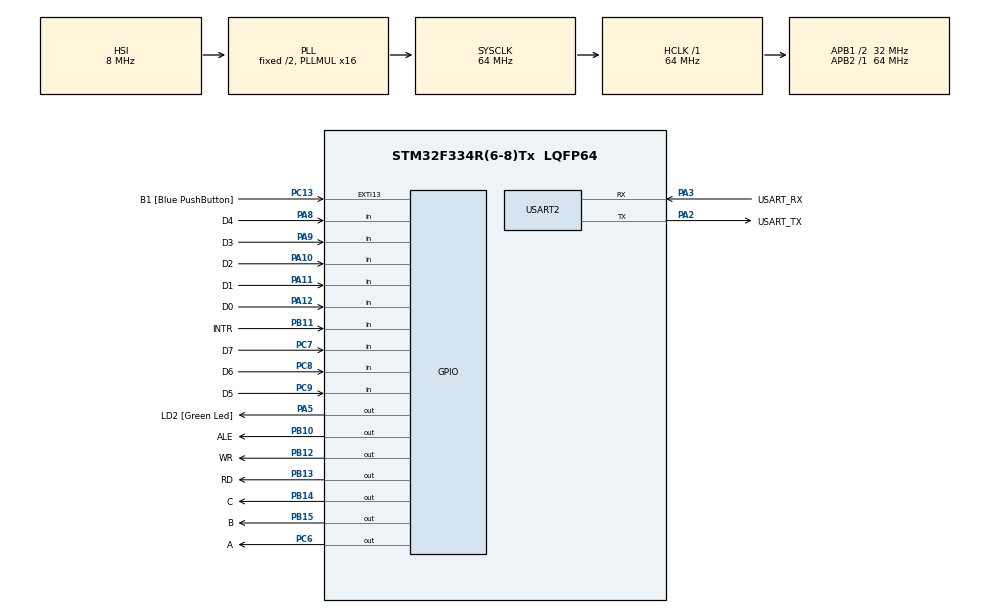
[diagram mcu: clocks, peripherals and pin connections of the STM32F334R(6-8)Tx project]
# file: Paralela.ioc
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Mcu.Family=STM32F3
Mcu.Name=STM32F334R(6-8)Tx
Mcu.Package=LQFP64
NVIC.PriorityGroup=NVIC_PRIORITYGROUP_0
PA10.GPIO_Label=D2
PA10.Signal=GPIO_Input
PA11.GPIO_Label=D1
PA11.Signal=GPIO_Input
PA12.GPIO_Label=D0
PA12.Signal=GPIO_Input
PA13.GPIO_Label=TMS
PA13.Mode=Serial_Wire
PA13.Signal=SYS_JTMS-SWDIO
PA14.GPIO_Label=TCK
PA14.Mode=Serial_Wire
PA14.Signal=SYS_JTCK-SWCLK
PA2.GPIO_Label=USART_TX
PA2.Mode=Asynchronous
PA2.Signal=USART2_TX
PA3.GPIO_Label=USART_RX
PA3.Mode=Asynchronous
PA3.Signal=USART2_RX
PA5.GPIO_Label=LD2 [Green Led]
PA5.Signal=GPIO_Output
PA8.GPIO_Label=D4
PA8.Signal=GPIO_Input
PA9.GPIO_Label=D3
PA9.Signal=GPIO_Input
PB10.GPIO_Label=ALE
PB10.Signal=GPIO_Output
PB11.GPIO_Label=INTR
PB11.Signal=GPIO_Input
PB12.GPIO_Label=WR
PB12.Signal=GPIO_Output
PB13.GPIO_Label=RD
PB13.Signal=GPIO_Output
PB14.GPIO_Label=C
PB14.Signal=GPIO_Output
PB15.GPIO_Label=B
PB15.Signal=GPIO_Output
PB3.GPIO_Label=SWO
PB3.Signal=SYS_JTDO-TRACESWO
PC13.GPIO_Label=B1 [Blue PushButton]
PC13.GPIO_ModeDefaultEXTI=GPIO_MODE_IT_FALLING
PC13.Signal=GPXTI13
PC14\ /\ OSC32_IN.Mode=LSE-External-Oscillator
PC14\ /\ OSC32_IN.Signal=RCC_OSC32_IN
PC15\ /\ OSC32_OUT.GPIO_Label=RCC_OSC32_OUT
PC15\ /\ OSC32_OUT.Mode=LSE-External-Oscillator
PC15\ /\ OSC32_OUT.Signal=RCC_OSC32_OUT
PC6.GPIO_Label=A
PC6.Signal=GPIO_Output
PC7.GPIO_Label=D7
PC7.Signal=GPIO_Input
PC8.GPIO_Label=D6
PC8.Signal=GPIO_Input
PC9.GPIO_Label=D5
PC9.Signal=GPIO_Input
PF0\ /\ OSC_IN.Mode=HSE-External-Clock-Source
PF0\ /\ OSC_IN.Signal=RCC_OSC_IN
PF1\ /\ OSC_OUT.Signal=RCC_OSC_OUT
ProjectManager.HeapSize=0x200
ProjectManager.StackSize=0x400
ProjectManager.TargetToolchain=STM32CubeIDE
RCC.AHBFreq_Value=64000000
RCC.APB1CLKDivider=RCC_HCLK_DIV2
RCC.APB1Freq_Value=32000000
RCC.APB1TimFreq_Value=64000000
RCC.APB2Freq_Value=64000000
RCC.APB2TimFreq_Value=64000000
RCC.CortexFreq_Value=64000000
RCC.FLatency-AdvancedSettings=FLASH_LATENCY_2
RCC.HCLKFreq_Value=64000000
RCC.HSE_VALUE=8000000
RCC.HSI_VALUE=8000000
RCC.PLLMUL=RCC_PLL_MUL16
RCC.SYSCLKFreq_VALUE=64000000
RCC.SYSCLKSourceVirtual=RCC_SYSCLKSOURCE_PLLCLK
USART2.VirtualMode-Asynchronous=VM_ASYNC
board=NUCLEO-F334R8

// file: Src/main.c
/* USER CODE BEGIN Header */
/**
  ******************************************************************************
  * @file           : main.c
  * @brief          : Main program body
  ******************************************************************************
  * @attention
  *
  * <h2><center>&copy; Copyright (c) 2019 STMicroelectronics.
  * All rights reserved.</center></h2>
  *
  * This software component is licensed by ST under BSD 3-Clause license,
  * the "License"; You may not use this file except in compliance with the
  * License. You may obtain a copy of the License at:
  *                        opensource.org/licenses/BSD-3-Clause
  *
  ******************************************************************************
  */
/* USER CODE END Header */

#include "main.h"

UART_HandleTypeDef huart2;

/* USER CODE BEGIN PV */
char bitDado0
char bitDado1
char bitDado2
char bitDado3
char bitDado4
char bitDado5
char bitDado6
char bitDado7

char ValorLido
char ValorEscrito

/* USER CODE END PV */

void SystemClock_Config(void);
static void MX_GPIO_Init(void);
static void MX_USART2_UART_Init(void);

int main(void)
{

  /* MCU Configuration--------------------------------------------------------*/

  /* Reset of all peripherals, Initializes the Flash interface and the Systick. */
  HAL_Init();

  /* Configure the system clock */
  SystemClock_Config();

  /* Initialize all configured peripherals */
  MX_GPIO_Init();
  MX_USART2_UART_Init();

  /* Infinite loop */
  while (1)
  {

    /* USER CODE BEGIN 3 */

	char ValorEscrito = 4;

	HAL_GPIO_WritePin(GPIOA, GPIO_PIN_5, (ValorEscrito & 0x01));
	HAL_GPIO_WritePin(GPIOA, GPIO_PIN_6, ((ValorEscrito & 0x02)>>1));
	HAL_GPIO_WritePin(GPIOA, GPIO_PIN_7, ((ValorEscrito & 0x04)>>2));
	HAL_GPIO_WritePin(GPIOA, GPIO_PIN_8, ((ValorEscrito & 0x08)>>3));
	HAL_GPIO_WritePin(GPIOA, GPIO_PIN_9, ((ValorEscrito & 0x10)>>4));
	HAL_GPIO_WritePin(GPIOA, GPIO_PIN_10, ((ValorEscrito & 0x20)>>5));
	HAL_GPIO_WritePin(GPIOA, GPIO_PIN_11, ((ValorEscrito & 0x40)>>6));
	HAL_GPIO_WritePin(GPIOA, GPIO_PIN_12, ((ValorEscrito & 0x80)>>7));

	char bitDado0 = HAL_GPIO_ReadPin(GPIOA, GPIO_PIN_5);;  // Read state
	char bitDado1 = HAL_GPIO_ReadPin(GPIOA, GPIO_PIN_4);;  // Read state
	char bitDado2 = HAL_GPIO_ReadPin(GPIOA, GPIO_PIN_3);;  // Read state
	char bitDado3 = HAL_GPIO_ReadPin(GPIOA, GPIO_PIN_2);;  // Read state
	char bitDado4 = HAL_GPIO_ReadPin(GPIOA, GPIO_PIN_1);;  // Read state
	char bitDado5 = HAL_GPIO_ReadPin(GPIOA, GPIO_PIN_0);;  // Read state
	char bitDado6 = HAL_GPIO_ReadPin(GPIOA, GPIO_PIN_8);;  // Read state
	char bitDado7 = HAL_GPIO_ReadPin(GPIOA, GPIO_PIN_9);;  // Read state

	char ValorLido = bitDado0|(bitDado1<<1)|(bitDado2<<2)|(bitDado3<<3)|(bitDado4<<4)|(bitDado5<<5)|(bitDado6<<6)|(bitDado7<<7);

	}
  /* USER CODE END 3 */
}

void SystemClock_Config(void)
{
  RCC_OscInitTypeDef RCC_OscInitStruct = {0};
  RCC_ClkInitTypeDef RCC_ClkInitStruct = {0};

  /** Initializes the CPU, AHB and APB busses clocks
  */
  RCC_OscInitStruct.OscillatorType = RCC_OSCILLATORTYPE_HSI;
  RCC_OscInitStruct.HSIState = RCC_HSI_ON;
  RCC_OscInitStruct.HSICalibrationValue = RCC_HSICALIBRATION_DEFAULT;
  RCC_OscInitStruct.PLL.PLLState = RCC_PLL_ON;
  RCC_OscInitStruct.PLL.PLLSource = RCC_PLLSOURCE_HSI;
  RCC_OscInitStruct.PLL.PLLMUL = RCC_PLL_MUL16;
  if (HAL_RCC_OscConfig(&RCC_OscInitStruct) != HAL_OK)
  {
    Error_Handler();
  }
  /** Initializes the CPU, AHB and APB busses clocks
  */
  RCC_ClkInitStruct.ClockType = RCC_CLOCKTYPE_HCLK|RCC_CLOCKTYPE_SYSCLK
                              |RCC_CLOCKTYPE_PCLK1|RCC_CLOCKTYPE_PCLK2;
  RCC_ClkInitStruct.SYSCLKSource = RCC_SYSCLKSOURCE_PLLCLK;
  RCC_ClkInitStruct.AHBCLKDivider = RCC_SYSCLK_DIV1;
  RCC_ClkInitStruct.APB1CLKDivider = RCC_HCLK_DIV2;
  RCC_ClkInitStruct.APB2CLKDivider = RCC_HCLK_DIV1;

  if (HAL_RCC_ClockConfig(&RCC_ClkInitStruct, FLASH_LATENCY_2) != HAL_OK)
  {
    Error_Handler();
  }
}

static void MX_USART2_UART_Init(void)
{

  huart2.Instance = USART2;
  huart2.Init.BaudRate = 38400;
  huart2.Init.WordLength = UART_WORDLENGTH_8B;
  huart2.Init.StopBits = UART_STOPBITS_1;
  huart2.Init.Parity = UART_PARITY_NONE;
  huart2.Init.Mode = UART_MODE_TX_RX;
  huart2.Init.HwFlowCtl = UART_HWCONTROL_NONE;
  huart2.Init.OverSampling = UART_OVERSAMPLING_16;
  huart2.Init.OneBitSampling = UART_ONE_BIT_SAMPLE_DISABLE;
  huart2.AdvancedInit.AdvFeatureInit = UART_ADVFEATURE_NO_INIT;
  if (HAL_UART_Init(&huart2) != HAL_OK)
  {
    Error_Handler();
  }

}

static void MX_GPIO_Init(void)
{
  GPIO_InitTypeDef GPIO_InitStruct = {0};

  /* GPIO Ports Clock Enable */
  __HAL_RCC_GPIOC_CLK_ENABLE();
  __HAL_RCC_GPIOF_CLK_ENABLE();
  __HAL_RCC_GPIOA_CLK_ENABLE();
  __HAL_RCC_GPIOB_CLK_ENABLE();

  /*Configure GPIO pin Output Level */
  HAL_GPIO_WritePin(LD2_GPIO_Port, LD2_Pin, GPIO_PIN_RESET);

  /*Configure GPIO pin Output Level */
  HAL_GPIO_WritePin(GPIOB, ALE_Pin|WR_Pin|RD_Pin|C_Pin
                          |B_Pin, GPIO_PIN_RESET);

  /*Configure GPIO pin Output Level */
  HAL_GPIO_WritePin(A_GPIO_Port, A_Pin, GPIO_PIN_RESET);

  /*Configure GPIO pin : B1_Pin */
  GPIO_InitStruct.Pin = B1_Pin;
  GPIO_InitStruct.Mode = GPIO_MODE_IT_FALLING;
  GPIO_InitStruct.Pull = GPIO_NOPULL;
  HAL_GPIO_Init(B1_GPIO_Port, &GPIO_InitStruct);

  /*Configure GPIO pin : LD2_Pin */
  GPIO_InitStruct.Pin = LD2_Pin;
  GPIO_InitStruct.Mode = GPIO_MODE_OUTPUT_PP;
  GPIO_InitStruct.Pull = GPIO_NOPULL;
  GPIO_InitStruct.Speed = GPIO_SPEED_FREQ_LOW;
  HAL_GPIO_Init(LD2_GPIO_Port, &GPIO_InitStruct);

  /*Configure GPIO pins : ALE_Pin WR_Pin RD_Pin C_Pin
                           B_Pin */
  GPIO_InitStruct.Pin = ALE_Pin|WR_Pin|RD_Pin|C_Pin
                          |B_Pin;
  GPIO_InitStruct.Mode = GPIO_MODE_OUTPUT_PP;
  GPIO_InitStruct.Pull = GPIO_NOPULL;
  GPIO_InitStruct.Speed = GPIO_SPEED_FREQ_LOW;
  HAL_GPIO_Init(GPIOB, &GPIO_InitStruct);

  /*Configure GPIO pin : INTR_Pin */
  GPIO_InitStruct.Pin = INTR_Pin;
  GPIO_InitStruct.Mode = GPIO_MODE_INPUT;
  GPIO_InitStruct.Pull = GPIO_NOPULL;
  HAL_GPIO_Init(INTR_GPIO_Port, &GPIO_InitStruct);

  /*Configure GPIO pin : A_Pin */
  GPIO_InitStruct.Pin = A_Pin;
  GPIO_InitStruct.Mode = GPIO_MODE_OUTPUT_PP;
  GPIO_InitStruct.Pull = GPIO_NOPULL;
  GPIO_InitStruct.Speed = GPIO_SPEED_FREQ_LOW;
  HAL_GPIO_Init(A_GPIO_Port, &GPIO_InitStruct);

  /*Configure GPIO pins : D7_Pin D6_Pin D5_Pin */
  GPIO_InitStruct.Pin = D7_Pin|D6_Pin|D5_Pin;
  GPIO_InitStruct.Mode = GPIO_MODE_INPUT;
  GPIO_InitStruct.Pull = GPIO_NOPULL;
  HAL_GPIO_Init(GPIOC, &GPIO_InitStruct);

  /*Configure GPIO pins : D4_Pin D3_Pin D2_Pin D1_Pin
                           D0_Pin */
  GPIO_InitStruct.Pin = D4_Pin|D3_Pin|D2_Pin|D1_Pin
                          |D0_Pin;
  GPIO_InitStruct.Mode = GPIO_MODE_INPUT;
  GPIO_InitStruct.Pull = GPIO_NOPULL;
  HAL_GPIO_Init(GPIOA, &GPIO_InitStruct);

}

void Error_Handler(void)
{
}

/************************ (C) COPYRIGHT STMicroelectronics *****END OF FILE****/
